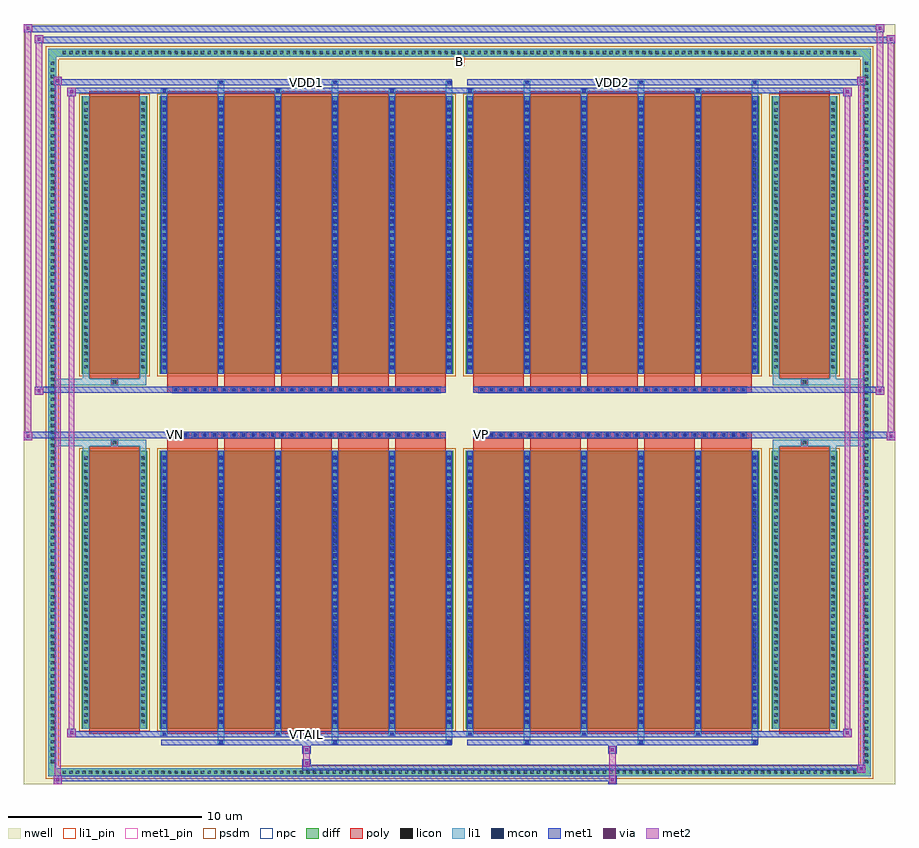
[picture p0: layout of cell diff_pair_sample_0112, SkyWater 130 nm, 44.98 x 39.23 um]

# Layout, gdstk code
import gdstk
lib = gdstk.Library(unit=1e-6, precision=5e-09)
def R(c, l, rs):  # rectangles x0, y0, x1, y1
    for r in rs: c.add(gdstk.rectangle(r[:2], r[2:], *l))
def A(c, l, x, y, w, h, nx, ny, dx, dy):  # array of equal rectangles
    R(c, l, [(x+i*dx, y+j*dy, x+i*dx+w, y+j*dy+h) for i in range(nx) for j in range(ny)])
def P(c, l, *ps):  # polygons
    for p in ps: c.add(gdstk.Polygon(p, *l))
nwell = (64, 20)
diff = (65, 20)
poly = (66, 20)
licon = (66, 44)
li1_pin = (67, 16)
li1 = (67, 20)
mcon = (67, 44)
met1_pin = (68, 16)
met1 = (68, 20)
via = (68, 44)
met2 = (69, 20)
psdm = (94, 20)
npc = (95, 20)

diff_pair_sample_0112 = lib.new_cell('diff_pair_sample_0112')
R(diff_pair_sample_0112, nwell, [(-22.49,-19.18,22.49,20.05), (-19.81,-17.37,-0.01,-0.805), (0.01,-17.37,19.81,-0.805), (-19.81,0.805,-0.01,17.37), (0.01,0.805,19.81,17.37)])
A(diff_pair_sample_0112, diff, -20.605, -18.78, 0.41, 0.41, 121, 2, 0.34, 37.15)
A(diff_pair_sample_0112, diff, -21.22, -18.225, 0.41, 0.41, 1, 107, 0, 0.34)
A(diff_pair_sample_0112, diff, 20.81, -18.225, 0.41, 0.41, 1, 107, 0, 0.34)
R(diff_pair_sample_0112, diff, [(-20.605,-18.78,20.605,-18.37), (-21.22,-18.225,-20.81,18.225), (20.81,-18.225,21.22,18.225), (-19.5,-16.325,-16.11,-1.985), (-15.47,-16.325,-0.32,-1.985), (0.32,-16.325,15.47,-1.985), (16.11,-16.325,19.5,-1.985), (-19.5,1.985,-16.11,16.325), (-15.47,1.985,-0.32,16.325), (0.32,1.985,15.47,16.325), (16.11,1.985,19.5,16.325), (-20.605,18.37,20.605,18.78)])
P(diff_pair_sample_0112, diff, [(21.22,18.78),(-21.22,18.78),(-21.22,-18.37),(-20.81,-18.37),(-20.81,18.37),(20.81,18.37),(20.81,-18.37),(-20.81,-18.37),(-21.22,-18.37),(-21.22,-18.78),(21.22,-18.78)])
A(diff_pair_sample_0112, poly, -15.08, -16.575, 2.61, 14.84, 5, 2, 2.94, 18.31)
A(diff_pair_sample_0112, poly, 0.71, -16.575, 2.61, 14.84, 5, 2, 2.94, 18.31)
A(diff_pair_sample_0112, poly, -15.08, -1.735, 2.61, 0.4, 5, 2, 2.94, 3.07)
A(diff_pair_sample_0112, poly, 0.71, -1.735, 2.61, 0.4, 5, 2, 2.94, 3.07)
A(diff_pair_sample_0112, poly, -14.81, -1.335, 0.33, 0.33, 28, 2, 0.5, 2.34)
A(diff_pair_sample_0112, poly, 0.98, -1.335, 0.33, 0.33, 28, 2, 0.5, 2.34)
R(diff_pair_sample_0112, poly, [(-19.11,-16.575,-16.5,-1.735), (16.5,-16.575,19.11,-1.735), (-17.97,-1.735,-17.64,-1.405), (-17.97,-1.735,-17.64,-1.405), (17.64,-1.735,17.97,-1.405), (17.64,-1.735,17.97,-1.405), (-15.08,-1.335,-0.71,-1.005), (0.71,-1.335,15.08,-1.005), (-15.08,1.005,-0.71,1.335), (0.71,1.005,15.08,1.335), (-17.97,1.405,-17.64,1.735), (-17.97,1.405,-17.64,1.735), (17.64,1.405,17.97,1.735), (17.64,1.405,17.97,1.735), (-19.11,1.735,-16.5,16.575), (16.5,1.735,19.11,16.575)])
A(diff_pair_sample_0112, licon, -20.485, -18.66, 0.17, 0.17, 121, 2, 0.34, 37.15)
A(diff_pair_sample_0112, licon, -21.1, -18.105, 0.17, 0.17, 1, 107, 0, 0.34)
A(diff_pair_sample_0112, licon, 20.93, -18.105, 0.17, 0.17, 1, 107, 0, 0.34)
A(diff_pair_sample_0112, licon, -19.36, -16.04, 0.17, 0.17, 1, 41, 0, 0.34)
A(diff_pair_sample_0112, licon, -16.42, -16.04, 0.17, 0.17, 1, 41, 0, 0.34)
A(diff_pair_sample_0112, licon, -15.33, -16.04, 0.17, 0.17, 6, 41, 2.94, 0.34)
A(diff_pair_sample_0112, licon, 0.46, -16.04, 0.17, 0.17, 6, 41, 2.94, 0.34)
A(diff_pair_sample_0112, licon, 16.25, -16.04, 0.17, 0.17, 1, 41, 0, 0.34)
A(diff_pair_sample_0112, licon, 19.19, -16.04, 0.17, 0.17, 1, 41, 0, 0.34)
A(diff_pair_sample_0112, licon, -14.73, -1.255, 0.17, 0.17, 28, 2, 0.5, 2.34)
A(diff_pair_sample_0112, licon, 1.06, -1.255, 0.17, 0.17, 28, 2, 0.5, 2.34)
A(diff_pair_sample_0112, licon, -19.36, 2.27, 0.17, 0.17, 1, 41, 0, 0.34)
A(diff_pair_sample_0112, licon, -16.42, 2.27, 0.17, 0.17, 1, 41, 0, 0.34)
A(diff_pair_sample_0112, licon, -15.33, 2.27, 0.17, 0.17, 6, 41, 2.94, 0.34)
A(diff_pair_sample_0112, licon, 0.46, 2.27, 0.17, 0.17, 6, 41, 2.94, 0.34)
A(diff_pair_sample_0112, licon, 16.25, 2.27, 0.17, 0.17, 1, 41, 0, 0.34)
A(diff_pair_sample_0112, licon, 19.19, 2.27, 0.17, 0.17, 1, 41, 0, 0.34)
R(diff_pair_sample_0112, licon, [(-17.89,-1.655,-17.72,-1.485), (17.72,-1.655,17.89,-1.485), (-17.89,1.485,-17.72,1.655), (17.72,1.485,17.89,1.655)])
R(diff_pair_sample_0112, li1_pin, [(-0.25,17.87,0.25,18.37)])
A(diff_pair_sample_0112, li1, -20.565, -18.74, 0.33, 0.33, 121, 2, 0.34, 37.15)
A(diff_pair_sample_0112, li1, -21.18, -18.185, 0.33, 0.33, 1, 107, 0, 0.34)
A(diff_pair_sample_0112, li1, 20.85, -18.185, 0.33, 0.33, 1, 107, 0, 0.34)
A(diff_pair_sample_0112, li1, -12.47, -17.13, 0.33, 0.805, 3, 2, 5.88, 33.455)
A(diff_pair_sample_0112, li1, -12.39, -17.13, 0.17, 0.17, 3, 2, 5.88, 34.09)
A(diff_pair_sample_0112, li1, 3.32, -17.13, 0.33, 0.805, 3, 2, 5.88, 33.455)
A(diff_pair_sample_0112, li1, 3.4, -17.13, 0.17, 0.17, 3, 2, 5.88, 34.09)
A(diff_pair_sample_0112, li1, -15.41, -16.7, 0.33, 0.375, 3, 2, 5.88, 33.025)
A(diff_pair_sample_0112, li1, -15.33, -16.7, 0.17, 0.17, 3, 2, 5.88, 33.23)
A(diff_pair_sample_0112, li1, 0.38, -16.7, 0.33, 0.375, 3, 2, 5.88, 33.025)
A(diff_pair_sample_0112, li1, 0.46, -16.7, 0.17, 0.17, 3, 2, 5.88, 33.23)
A(diff_pair_sample_0112, li1, -15.41, -16.325, 0.33, 14.34, 6, 2, 2.94, 18.31)
A(diff_pair_sample_0112, li1, 0.38, -16.325, 0.33, 14.34, 6, 2, 2.94, 18.31)
A(diff_pair_sample_0112, li1, -19.44, -16.12, 0.33, 0.33, 1, 41, 0, 0.34)
A(diff_pair_sample_0112, li1, -16.5, -16.12, 0.33, 0.33, 1, 41, 0, 0.34)
A(diff_pair_sample_0112, li1, -15.41, -16.12, 0.33, 0.33, 6, 41, 2.94, 0.34)
A(diff_pair_sample_0112, li1, 0.38, -16.12, 0.33, 0.33, 6, 41, 2.94, 0.34)
A(diff_pair_sample_0112, li1, 16.17, -16.12, 0.33, 0.33, 1, 41, 0, 0.34)
A(diff_pair_sample_0112, li1, 19.11, -16.12, 0.33, 0.33, 1, 41, 0, 0.34)
A(diff_pair_sample_0112, li1, -15.33, -16.08, 0.17, 0.17, 6, 39, 2.94, 0.36)
A(diff_pair_sample_0112, li1, -15.33, -16.08, 0.17, 13.85, 6, 2, 2.94, 18.31)
A(diff_pair_sample_0112, li1, 0.46, -16.08, 0.17, 0.17, 6, 39, 2.94, 0.36)
A(diff_pair_sample_0112, li1, 0.46, -16.08, 0.17, 13.85, 6, 2, 2.94, 18.31)
A(diff_pair_sample_0112, li1, -14.81, -1.335, 0.33, 0.33, 28, 2, 0.5, 2.34)
A(diff_pair_sample_0112, li1, 0.98, -1.335, 0.33, 0.33, 28, 2, 0.5, 2.34)
A(diff_pair_sample_0112, li1, -19.44, 2.19, 0.33, 0.33, 1, 41, 0, 0.34)
A(diff_pair_sample_0112, li1, -16.5, 2.19, 0.33, 0.33, 1, 41, 0, 0.34)
A(diff_pair_sample_0112, li1, -15.41, 2.19, 0.33, 0.33, 6, 41, 2.94, 0.34)
A(diff_pair_sample_0112, li1, 0.38, 2.19, 0.33, 0.33, 6, 41, 2.94, 0.34)
A(diff_pair_sample_0112, li1, 16.17, 2.19, 0.33, 0.33, 1, 41, 0, 0.34)
A(diff_pair_sample_0112, li1, 19.11, 2.19, 0.33, 0.33, 1, 41, 0, 0.34)
A(diff_pair_sample_0112, li1, -15.33, 2.23, 0.17, 0.17, 6, 39, 2.94, 0.36)
A(diff_pair_sample_0112, li1, 0.46, 2.23, 0.17, 0.17, 6, 39, 2.94, 0.36)
R(diff_pair_sample_0112, li1, [(-21.22,-18.78,-20.81,-18.37), (-21.22,-18.78,-20.81,-18.37), (-20.81,-18.78,20.81,-18.37), (20.81,-18.78,21.22,-18.37), (20.81,-18.78,21.22,-18.37), (-21.22,-18.37,-20.81,18.37), (20.81,-18.37,21.22,18.37), (-19.44,-16.325,-19.11,-1.985), (-16.5,-16.325,-16.17,-1.985), (16.17,-16.325,16.5,-1.985), (19.11,-16.325,19.44,-1.985), (-19.44,-1.985,-19.11,-1.405), (-16.5,-1.985,-16.17,-1.405), (16.17,-1.985,16.5,-1.405), (19.11,-1.985,19.44,-1.405), (-21.22,-1.735,-17.97,-1.405), (-19.44,-1.735,-17.97,-1.405), (-17.97,-1.735,-17.64,-1.405), (-17.64,-1.735,-16.17,-1.405), (16.17,-1.735,17.64,-1.405), (17.64,-1.735,17.97,-1.405), (17.64,-1.735,21.22,-1.405), (17.97,-1.735,19.44,-1.405), (-21.22,1.405,-17.97,1.735), (-19.44,1.405,-17.97,1.735), (-19.44,1.405,-19.11,1.985), (-17.97,1.405,-17.64,1.735), (-17.64,1.405,-16.17,1.735), (-16.5,1.405,-16.17,1.985), (16.17,1.405,17.64,1.735), (16.17,1.405,16.5,1.985), (17.64,1.405,17.97,1.735), (17.64,1.405,21.22,1.735), (17.97,1.405,19.44,1.735), (19.11,1.405,19.44,1.985), (-19.44,1.985,-19.11,16.325), (-16.5,1.985,-16.17,16.325), (16.17,1.985,16.5,16.325), (19.11,1.985,19.44,16.325), (-21.22,18.37,-20.81,18.78), (-21.22,18.37,-20.81,18.78), (-20.81,18.37,20.81,18.78), (20.81,18.37,21.22,18.78), (20.81,18.37,21.22,18.78)])
A(diff_pair_sample_0112, mcon, -12.39, -17.13, 0.17, 0.17, 3, 2, 5.88, 34.09)
A(diff_pair_sample_0112, mcon, 3.4, -17.13, 0.17, 0.17, 3, 2, 5.88, 34.09)
A(diff_pair_sample_0112, mcon, -15.33, -16.7, 0.17, 0.17, 3, 2, 5.88, 33.23)
A(diff_pair_sample_0112, mcon, 0.46, -16.7, 0.17, 0.17, 3, 2, 5.88, 33.23)
A(diff_pair_sample_0112, mcon, -15.33, -16.08, 0.17, 0.17, 6, 39, 2.94, 0.36)
A(diff_pair_sample_0112, mcon, 0.46, -16.08, 0.17, 0.17, 6, 39, 2.94, 0.36)
A(diff_pair_sample_0112, mcon, -14.73, -1.255, 0.17, 0.17, 28, 2, 0.5, 2.34)
A(diff_pair_sample_0112, mcon, 1.06, -1.255, 0.17, 0.17, 28, 2, 0.5, 2.34)
A(diff_pair_sample_0112, mcon, -15.33, 2.23, 0.17, 0.17, 6, 39, 2.94, 0.36)
A(diff_pair_sample_0112, mcon, 0.46, 2.23, 0.17, 0.17, 6, 39, 2.94, 0.36)
R(diff_pair_sample_0112, met1_pin, [(-8.03,-16.74,-7.76,-16.47), (-14.78,-1.295,-14.51,-1.025), (1.01,-1.295,1.28,-1.025), (-8.03,16.92,-7.76,17.19), (7.76,16.92,8.03,17.19)])
A(diff_pair_sample_0112, met1, -12.45, -17.19, 0.29, 0.29, 3, 2, 5.88, 34.09)
A(diff_pair_sample_0112, met1, 3.34, -17.19, 0.29, 0.29, 3, 2, 5.88, 34.09)
A(diff_pair_sample_0112, met1, -15.39, -16.76, 0.29, 0.29, 3, 2, 5.88, 33.23)
A(diff_pair_sample_0112, met1, 0.4, -16.76, 0.29, 0.29, 3, 2, 5.88, 33.23)
A(diff_pair_sample_0112, met1, -15.39, -16.325, 0.29, 14.34, 6, 2, 2.94, 18.31)
A(diff_pair_sample_0112, met1, 0.4, -16.325, 0.29, 14.34, 6, 2, 2.94, 18.31)
A(diff_pair_sample_0112, met1, -15.39, -16.14, 0.29, 0.29, 6, 39, 2.94, 0.36)
A(diff_pair_sample_0112, met1, 0.4, -16.14, 0.29, 0.29, 6, 39, 2.94, 0.36)
A(diff_pair_sample_0112, met1, -14.79, -1.315, 0.29, 0.29, 28, 2, 0.5, 2.34)
A(diff_pair_sample_0112, met1, 1, -1.315, 0.29, 0.29, 28, 2, 0.5, 2.34)
A(diff_pair_sample_0112, met1, -15.39, 2.17, 0.29, 0.29, 6, 39, 2.94, 0.36)
A(diff_pair_sample_0112, met1, 0.4, 2.17, 0.29, 0.29, 6, 39, 2.94, 0.36)
R(diff_pair_sample_0112, met1, [(-20.95,-19.18,-20.52,-18.75), (7.68,-19.18,8.11,-18.75), (-20.95,-19.04,8.11,-18.75), (20.52,-18.61,20.95,-18.18), (-8.11,-18.47,20.95,-18.18), (-8.11,-18.33,-7.68,-17.9), (-8.11,-17.62,-7.68,-17.19), (7.68,-17.62,8.11,-17.19), (-15.39,-17.19,-0.4,-16.9), (0.4,-17.19,15.39,-16.9), (-20.24,-16.76,-19.81,-16.33), (-20.24,-16.76,-15.39,-16.47), (-15.39,-16.76,-0.4,-16.47), (-0.4,-16.76,0.4,-16.47), (0.4,-16.76,15.39,-16.47), (15.39,-16.76,20.24,-16.47), (19.81,-16.76,20.24,-16.33), (-22.49,-1.435,-22.06,-1.005), (22.06,-1.435,22.49,-1.005), (-22.49,-1.335,-0.71,-1.005), (-15.08,-1.335,-0.71,-1.005), (0.71,-1.335,15.08,-1.005), (0.71,-1.335,22.49,-1.005), (-21.92,0.905,-21.49,1.335), (21.49,0.905,21.92,1.335), (-21.92,1.005,-15.08,1.335), (-15.08,1.005,-0.71,1.335), (0.71,1.005,15.08,1.335), (15.08,1.005,21.92,1.335), (-20.24,16.33,-19.81,16.76), (19.81,16.33,20.24,16.76), (-20.24,16.47,-15.39,16.76), (-15.39,16.47,-0.4,16.76), (-0.4,16.47,0.4,16.76), (0.4,16.47,15.39,16.76), (15.39,16.47,20.24,16.76), (-20.95,16.9,-20.52,17.33), (-20.95,16.9,-15.39,17.19), (-15.39,16.9,-0.4,17.19), (0.4,16.9,15.39,17.19), (15.39,16.9,20.95,17.19), (20.52,16.9,20.95,17.33), (-21.92,19.05,-21.49,19.48), (-21.92,19.05,-19.81,19.38), (-19.81,19.05,19.81,19.38), (19.81,19.05,22.49,19.38), (22.06,19.05,22.49,19.48), (-22.49,19.62,-22.06,20.05), (-22.49,19.62,-19.81,19.95), (-19.81,19.62,19.81,19.95), (19.81,19.62,21.92,19.95), (21.49,19.62,21.92,20.05)])
R(diff_pair_sample_0112, via, [(-20.81,-19.04,-20.66,-18.89), (7.82,-19.04,7.97,-18.89), (20.66,-18.47,20.81,-18.32), (-7.97,-18.19,-7.82,-18.04), (-7.97,-17.48,-7.82,-17.33), (7.82,-17.48,7.97,-17.33), (-20.1,-16.62,-19.95,-16.47), (19.95,-16.62,20.1,-16.47), (-22.35,-1.295,-22.2,-1.145), (22.2,-1.295,22.35,-1.145), (-21.78,1.045,-21.63,1.195), (21.63,1.045,21.78,1.195), (-20.1,16.47,-19.95,16.62), (19.95,16.47,20.1,16.62), (-20.81,17.04,-20.66,17.19), (20.66,17.04,20.81,17.19), (-21.78,19.19,-21.63,19.34), (22.2,19.19,22.35,19.34), (-22.35,19.76,-22.2,19.91), (21.63,19.76,21.78,19.91)])
R(diff_pair_sample_0112, met2, [(-20.95,-19.18,-20.52,-18.75), (-20.88,-19.18,-20.59,17.33), (-20.59,-19.18,-20.52,-18.75), (-20.9,-19.13,-20.57,-18.8), (7.73,-19.13,8.06,-18.8), (7.73,-18.8,8.06,-17.57), (20.52,-18.61,20.95,-18.18), (20.59,-18.61,20.88,17.33), (20.88,-18.61,20.95,-18.18), (20.57,-18.56,20.9,-18.23), (-8.06,-18.28,-7.73,-17.95), (-8.06,-17.95,-7.73,-17.57), (-8.06,-17.57,-7.73,-17.24), (7.73,-17.57,8.06,-17.24), (-20.24,-16.76,-19.81,-16.33), (-20.17,-16.76,-19.88,16.76), (-19.88,-16.76,-19.81,-16.33), (19.81,-16.76,20.24,-16.33), (19.88,-16.76,20.17,16.76), (20.17,-16.76,20.24,-16.33), (-20.19,-16.71,-19.86,-16.38), (19.86,-16.71,20.19,-16.38), (-22.49,-1.435,-22.06,-1.005), (-22.44,-1.435,-22.11,20.05), (-22.11,-1.435,-22.06,-1.005), (22.06,-1.435,22.49,-1.005), (22.11,-1.435,22.44,19.48), (22.44,-1.435,22.49,-1.005), (-22.44,-1.385,-22.11,-1.055), (22.11,-1.385,22.44,-1.055), (-21.92,0.905,-21.49,1.335), (-21.87,0.905,-21.54,19.48), (-21.54,0.905,-21.49,1.335), (21.49,0.905,21.92,1.335), (21.54,0.905,21.87,20.05), (21.87,0.905,21.92,1.335), (-21.87,0.955,-21.54,1.285), (21.54,0.955,21.87,1.285), (-20.24,16.33,-19.81,16.76), (-19.88,16.33,-19.81,16.76), (19.81,16.33,20.24,16.76), (20.17,16.33,20.24,16.76), (-20.19,16.38,-19.86,16.71), (19.86,16.38,20.19,16.71), (-20.95,16.9,-20.52,17.33), (-20.59,16.9,-20.52,17.33), (20.52,16.9,20.95,17.33), (20.88,16.9,20.95,17.33), (-20.9,16.95,-20.57,17.28), (20.57,16.95,20.9,17.28), (-21.92,19.05,-21.49,19.48), (-21.54,19.05,-21.49,19.48), (22.06,19.05,22.49,19.48), (22.44,19.05,22.49,19.48), (-21.87,19.1,-21.54,19.43), (22.11,19.1,22.44,19.43), (-22.49,19.62,-22.06,20.05), (-22.11,19.62,-22.06,20.05), (21.49,19.62,21.92,20.05), (21.87,19.62,21.92,20.05), (-22.44,19.67,-22.11,20), (21.54,19.67,21.87,20)])
R(diff_pair_sample_0112, psdm, [(-19.63,-16.455,-15.98,-1.855), (-15.6,-16.455,-0.19,-1.855), (0.19,-16.455,15.6,-1.855), (15.98,-16.455,19.63,-1.855), (-19.63,1.855,-15.98,16.455), (-15.6,1.855,-0.19,16.455), (0.19,1.855,15.6,16.455), (15.98,1.855,19.63,16.455)])
P(diff_pair_sample_0112, psdm, [(21.35,18.91),(-21.35,18.91),(-21.35,-18.24),(-20.68,-18.24),(-20.68,18.24),(20.68,18.24),(20.68,-18.24),(-20.68,-18.24),(-21.35,-18.24),(-21.35,-18.91),(21.35,-18.91)])
A(diff_pair_sample_0112, npc, -14.83, -1.355, 0.37, 0.37, 28, 2, 0.5, 2.34)
A(diff_pair_sample_0112, npc, 0.96, -1.355, 0.37, 0.37, 28, 2, 0.5, 2.34)
R(diff_pair_sample_0112, npc, [(-17.99,-1.755,-17.62,-1.385), (17.62,-1.755,17.99,-1.385), (-14.83,-1.355,-13.96,-0.985), (-14.83,-1.355,-13.96,-0.985), (-14.33,-1.355,-13.46,-0.985), (-14.33,-1.355,-13.46,-0.985), (-13.83,-1.355,-12.96,-0.985), (-13.83,-1.355,-12.96,-0.985), (-13.33,-1.355,-12.46,-0.985), (-13.33,-1.355,-12.46,-0.985), (-12.83,-1.355,-11.96,-0.985), (-12.83,-1.355,-11.96,-0.985), (-12.33,-1.355,-11.46,-0.985), (-12.33,-1.355,-11.46,-0.985), (-11.83,-1.355,-10.96,-0.985), (-11.83,-1.355,-10.96,-0.985), (-11.33,-1.355,-10.46,-0.985), (-11.33,-1.355,-10.46,-0.985), (-10.83,-1.355,-9.96,-0.985), (-10.83,-1.355,-9.96,-0.985), (-10.33,-1.355,-9.46,-0.985), (-10.33,-1.355,-9.46,-0.985), (-9.83,-1.355,-8.96,-0.985), (-9.83,-1.355,-8.96,-0.985), (-9.33,-1.355,-8.46,-0.985), (-9.33,-1.355,-8.46,-0.985), (-8.83,-1.355,-7.96,-0.985), (-8.83,-1.355,-7.96,-0.985), (-8.33,-1.355,-7.46,-0.985), (-8.33,-1.355,-7.46,-0.985), (-7.83,-1.355,-6.96,-0.985), (-7.83,-1.355,-6.96,-0.985), (-7.33,-1.355,-6.46,-0.985), (-7.33,-1.355,-6.46,-0.985), (-6.83,-1.355,-5.96,-0.985), (-6.83,-1.355,-5.96,-0.985), (-6.33,-1.355,-5.46,-0.985), (-6.33,-1.355,-5.46,-0.985), (-5.83,-1.355,-4.96,-0.985), (-5.83,-1.355,-4.96,-0.985), (-5.33,-1.355,-4.46,-0.985), (-5.33,-1.355,-4.46,-0.985), (-4.83,-1.355,-3.96,-0.985), (-4.83,-1.355,-3.96,-0.985), (-4.33,-1.355,-3.46,-0.985), (-4.33,-1.355,-3.46,-0.985), (-3.83,-1.355,-2.96,-0.985), (-3.83,-1.355,-2.96,-0.985), (-3.33,-1.355,-2.46,-0.985), (-3.33,-1.355,-2.46,-0.985), (-2.83,-1.355,-1.96,-0.985), (-2.83,-1.355,-1.96,-0.985), (-2.33,-1.355,-1.46,-0.985), (-2.33,-1.355,-1.46,-0.985), (-1.83,-1.355,-0.96,-0.985), (-1.83,-1.355,-0.96,-0.985), (0.96,-1.355,1.83,-0.985), (0.96,-1.355,1.83,-0.985), (1.46,-1.355,2.33,-0.985), (1.46,-1.355,2.33,-0.985), (1.96,-1.355,2.83,-0.985), (1.96,-1.355,2.83,-0.985), (2.46,-1.355,3.33,-0.985), (2.46,-1.355,3.33,-0.985), (2.96,-1.355,3.83,-0.985), (2.96,-1.355,3.83,-0.985), (3.46,-1.355,4.33,-0.985), (3.46,-1.355,4.33,-0.985), (3.96,-1.355,4.83,-0.985), (3.96,-1.355,4.83,-0.985), (4.46,-1.355,5.33,-0.985), (4.46,-1.355,5.33,-0.985), (4.96,-1.355,5.83,-0.985), (4.96,-1.355,5.83,-0.985), (5.46,-1.355,6.33,-0.985), (5.46,-1.355,6.33,-0.985), (5.96,-1.355,6.83,-0.985), (5.96,-1.355,6.83,-0.985), (6.46,-1.355,7.33,-0.985), (6.46,-1.355,7.33,-0.985), (6.96,-1.355,7.83,-0.985), (6.96,-1.355,7.83,-0.985), (7.46,-1.355,8.33,-0.985), (7.46,-1.355,8.33,-0.985), (7.96,-1.355,8.83,-0.985), (7.96,-1.355,8.83,-0.985), (8.46,-1.355,9.33,-0.985), (8.46,-1.355,9.33,-0.985), (8.96,-1.355,9.83,-0.985), (8.96,-1.355,9.83,-0.985), (9.46,-1.355,10.33,-0.985), (9.46,-1.355,10.33,-0.985), (9.96,-1.355,10.83,-0.985), (9.96,-1.355,10.83,-0.985), (10.46,-1.355,11.33,-0.985), (10.46,-1.355,11.33,-0.985), (10.96,-1.355,11.83,-0.985), (10.96,-1.355,11.83,-0.985), (11.46,-1.355,12.33,-0.985), (11.46,-1.355,12.33,-0.985), (11.96,-1.355,12.83,-0.985), (11.96,-1.355,12.83,-0.985), (12.46,-1.355,13.33,-0.985), (12.46,-1.355,13.33,-0.985), (12.96,-1.355,13.83,-0.985), (12.96,-1.355,13.83,-0.985), (13.46,-1.355,14.33,-0.985), (13.46,-1.355,14.33,-0.985), (13.96,-1.355,14.83,-0.985), (13.96,-1.355,14.83,-0.985), (-14.83,0.985,-13.96,1.355), (-14.83,0.985,-13.96,1.355), (-14.33,0.985,-13.46,1.355), (-14.33,0.985,-13.46,1.355), (-13.83,0.985,-12.96,1.355), (-13.83,0.985,-12.96,1.355), (-13.33,0.985,-12.46,1.355), (-13.33,0.985,-12.46,1.355), (-12.83,0.985,-11.96,1.355), (-12.83,0.985,-11.96,1.355), (-12.33,0.985,-11.46,1.355), (-12.33,0.985,-11.46,1.355), (-11.83,0.985,-10.96,1.355), (-11.83,0.985,-10.96,1.355), (-11.33,0.985,-10.46,1.355), (-11.33,0.985,-10.46,1.355), (-10.83,0.985,-9.96,1.355), (-10.83,0.985,-9.96,1.355), (-10.33,0.985,-9.46,1.355), (-10.33,0.985,-9.46,1.355), (-9.83,0.985,-8.96,1.355), (-9.83,0.985,-8.96,1.355), (-9.33,0.985,-8.46,1.355), (-9.33,0.985,-8.46,1.355), (-8.83,0.985,-7.96,1.355), (-8.83,0.985,-7.96,1.355), (-8.33,0.985,-7.46,1.355), (-8.33,0.985,-7.46,1.355), (-7.83,0.985,-6.96,1.355), (-7.83,0.985,-6.96,1.355), (-7.33,0.985,-6.46,1.355), (-7.33,0.985,-6.46,1.355), (-6.83,0.985,-5.96,1.355), (-6.83,0.985,-5.96,1.355), (-6.33,0.985,-5.46,1.355), (-6.33,0.985,-5.46,1.355), (-5.83,0.985,-4.96,1.355), (-5.83,0.985,-4.96,1.355), (-5.33,0.985,-4.46,1.355), (-5.33,0.985,-4.46,1.355), (-4.83,0.985,-3.96,1.355), (-4.83,0.985,-3.96,1.355), (-4.33,0.985,-3.46,1.355), (-4.33,0.985,-3.46,1.355), (-3.83,0.985,-2.96,1.355), (-3.83,0.985,-2.96,1.355), (-3.33,0.985,-2.46,1.355), (-3.33,0.985,-2.46,1.355), (-2.83,0.985,-1.96,1.355), (-2.83,0.985,-1.96,1.355), (-2.33,0.985,-1.46,1.355), (-2.33,0.985,-1.46,1.355), (-1.83,0.985,-0.96,1.355), (-1.83,0.985,-0.96,1.355), (0.96,0.985,1.83,1.355), (0.96,0.985,1.83,1.355), (1.46,0.985,2.33,1.355), (1.46,0.985,2.33,1.355), (1.96,0.985,2.83,1.355), (1.96,0.985,2.83,1.355), (2.46,0.985,3.33,1.355), (2.46,0.985,3.33,1.355), (2.96,0.985,3.83,1.355), (2.96,0.985,3.83,1.355), (3.46,0.985,4.33,1.355), (3.46,0.985,4.33,1.355), (3.96,0.985,4.83,1.355), (3.96,0.985,4.83,1.355), (4.46,0.985,5.33,1.355), (4.46,0.985,5.33,1.355), (4.96,0.985,5.83,1.355), (4.96,0.985,5.83,1.355), (5.46,0.985,6.33,1.355), (5.46,0.985,6.33,1.355), (5.96,0.985,6.83,1.355), (5.96,0.985,6.83,1.355), (6.46,0.985,7.33,1.355), (6.46,0.985,7.33,1.355), (6.96,0.985,7.83,1.355), (6.96,0.985,7.83,1.355), (7.46,0.985,8.33,1.355), (7.46,0.985,8.33,1.355), (7.96,0.985,8.83,1.355), (7.96,0.985,8.83,1.355), (8.46,0.985,9.33,1.355), (8.46,0.985,9.33,1.355), (8.96,0.985,9.83,1.355), (8.96,0.985,9.83,1.355), (9.46,0.985,10.33,1.355), (9.46,0.985,10.33,1.355), (9.96,0.985,10.83,1.355), (9.96,0.985,10.83,1.355), (10.46,0.985,11.33,1.355), (10.46,0.985,11.33,1.355), (10.96,0.985,11.83,1.355), (10.96,0.985,11.83,1.355), (11.46,0.985,12.33,1.355), (11.46,0.985,12.33,1.355), (11.96,0.985,12.83,1.355), (11.96,0.985,12.83,1.355), (12.46,0.985,13.33,1.355), (12.46,0.985,13.33,1.355), (12.96,0.985,13.83,1.355), (12.96,0.985,13.83,1.355), (13.46,0.985,14.33,1.355), (13.46,0.985,14.33,1.355), (13.96,0.985,14.83,1.355), (13.96,0.985,14.83,1.355), (-17.99,1.385,-17.62,1.755), (17.62,1.385,17.99,1.755)])
diff_pair_sample_0112.add(gdstk.Label('VTAIL', (-7.895,-16.605), layer=68, texttype=5))
diff_pair_sample_0112.add(gdstk.Label('VN', (-14.645,-1.16), layer=68, texttype=5))
diff_pair_sample_0112.add(gdstk.Label('VP', (1.145,-1.16), layer=68, texttype=5))
diff_pair_sample_0112.add(gdstk.Label('B', (0,18.12), layer=67, texttype=5))
diff_pair_sample_0112.add(gdstk.Label('VDD2', (7.895,17.055), layer=68, texttype=5))
diff_pair_sample_0112.add(gdstk.Label('VDD1', (-7.895,17.055), layer=68, texttype=5))

lib.write_gds('diff_pair_sample_0112.gds')
